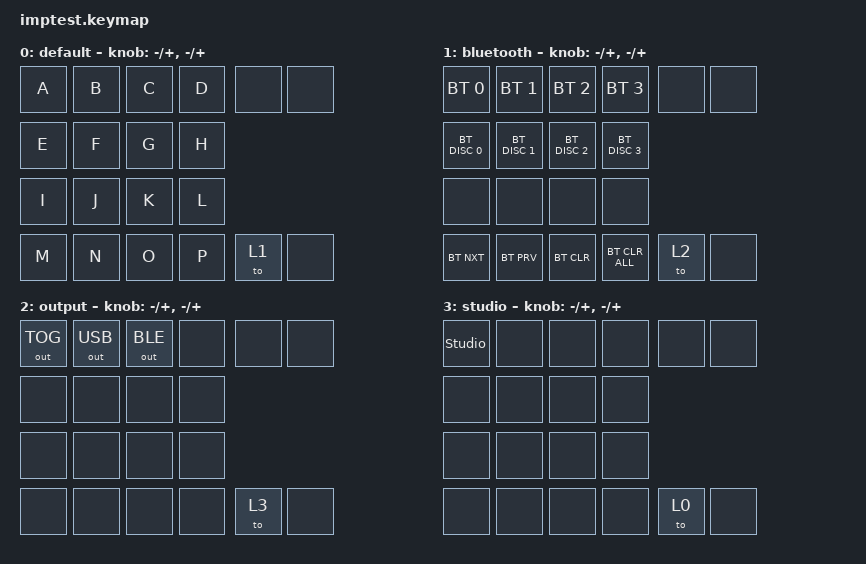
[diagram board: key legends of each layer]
#include <behaviors.dtsi>
#include <dt-bindings/zmk/keys.h>
#include <dt-bindings/zmk/bt.h>
#include <dt-bindings/zmk/outputs.h>

/ {
    behaviors {
        ttog: tap_cycle_hold_layer {
            compatible = "zmk,behavior-hold-tap";
            #binding-cells = <2>;
            flavor = "hold-preferred";
            tapping-term-ms = <200>;
            bindings = <&to>, <&to>;
        };
    };

    keymap {
        compatible = "zmk,keymap";

        default_layer {
            display-name = "default";
            bindings = <
                &kp A   &kp B   &kp C   &kp D   &none          &none
                &kp E   &kp F   &kp G   &kp H
                &kp I   &kp J   &kp K   &kp L
                &kp M   &kp N   &kp O   &kp P   &to 1   &none
            >;
            sensor-bindings = <&inc_dec_kp MINUS PLUS &inc_dec_kp MINUS PLUS>;
        };

        bt_layer {
            display-name = "bluetooth";
            bindings = <
                &bt BT_SEL 0    &bt BT_SEL 1    &bt BT_SEL 2    &bt BT_SEL 3     &none           &none
                &bt BT_DISC 0   &bt BT_DISC 1   &bt BT_DISC 2   &bt BT_DISC 3
                &none           &none           &none           &none
                &bt BT_NXT      &bt BT_PRV      &bt BT_CLR      &bt BT_CLR_ALL   &to 2 &none
            >;
            sensor-bindings = <&inc_dec_kp MINUS PLUS &inc_dec_kp MINUS PLUS>;
        };

        output_layer {
            display-name = "output";
            bindings = <
                &out OUT_TOG   &out OUT_USB   &out OUT_BLE   &none    &none          &none
                &none          &none          &none          &none
                &none          &none          &none          &none
                &none          &none          &none          &none    &to 3   &none
            >;
            sensor-bindings = <&inc_dec_kp MINUS PLUS &inc_dec_kp MINUS PLUS>;
        };

        studio_layer {
            display-name = "studio";
            bindings = <
                &studio_unlock  &none      &none      &none     &none           &none
                &none           &none      &none      &none
                &none           &none      &none      &none
                &none           &none      &none      &none     &to 0    &none
            >;
            sensor-bindings = <&inc_dec_kp MINUS PLUS &inc_dec_kp MINUS PLUS>;
        };


        extra1 {
            status = "reserved";
        };

        extra2 {
            status = "reserved";
        };

        extra3 {
            status = "reserved";
        };

        extra4 {
            status = "reserved";
        };

        extra5 {
            status = "reserved";
        };

        extra6 {
            status = "reserved";
        };

        extra7 {
            status = "reserved";
        };

        extra8 {
            status = "reserved";
        };

        extra9 {
            status = "reserved";
        };

        extra10 {
            status = "reserved";
        };
    };
};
